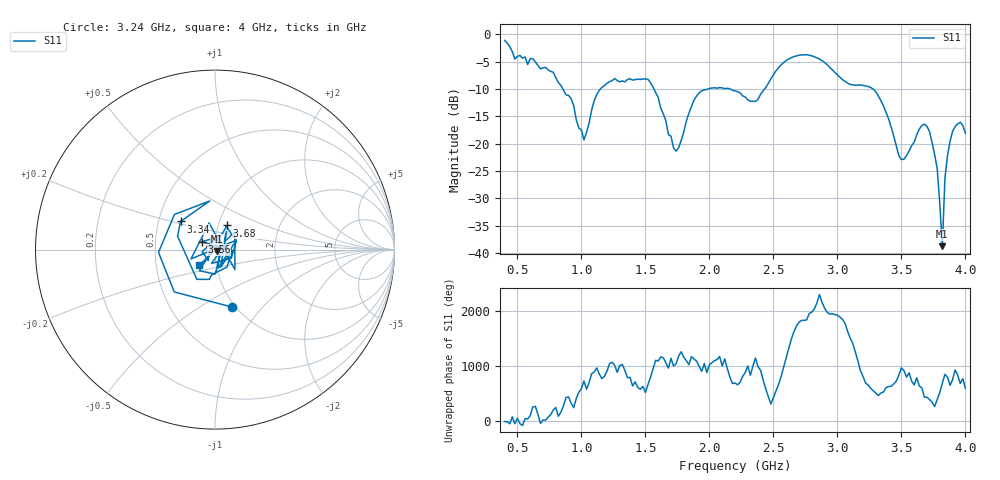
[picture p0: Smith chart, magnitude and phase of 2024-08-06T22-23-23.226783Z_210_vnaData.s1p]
!Created with skrf (http://scikit-rf.org).
# Hz S RI R 50.0
!freq ReS11 ImS11
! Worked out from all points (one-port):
!   181 points, 400 MHz to 4 GHz, reference 50 ohm
!   lowest |S11| = -38.7 dB at 3.82 GHz (marker M1), VSWR 1.02, Z = 50.9 - j0.756 ohm
!   |S11| at or under -10 dB: 854.9 MHz to 1.149 GHz (293.8 MHz wide, 29.3 % of centre); 1.567 GHz to 1.989 GHz (422.2 MHz wide, 23.7 % of centre); 3.278 GHz to end of sweep (the widest 3 of 4)
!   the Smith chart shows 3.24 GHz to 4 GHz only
!   S11 on the Smith chart (normalised r, x): 3.24 GHz: 0.96, -0.69; 3.34 GHz: 0.65, +0.22; 3.56 GHz: 0.86, +0.08; 3.68 GHz: 1.10, +0.30; 4 GHz: 0.82, -0.15
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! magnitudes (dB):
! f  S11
! 400 MHz  -1.1
! 480 MHz  -4.5
! 860 MHz  -10.2
! 920 MHz  -11.8
! 1.02 GHz  -19.3
! 1.14 GHz  -10.2
! 1.3 GHz  -8.7
! 1.52 GHz  -8.2
! 1.72 GHz  -20.8
! 1.76 GHz  -20.7
! 1.92 GHz  -10.7
! 2.2 GHz  -10.4
! 2.36 GHz  -12.3
! 2.66 GHz  -4.1
! 2.86 GHz  -4.5
! 3.1 GHz  -9.2
! 3.24 GHz  -9.5
! 3.34 GHz  -12.1
! 3.48 GHz  -22.2
! 3.56 GHz  -21.3
! 3.68 GHz  -16.4
! 3.72 GHz  -17.8
! 3.78 GHz  -24.6
! 3.82 GHz  -38.7
! 3.84 GHz  -26.3
! 3.88 GHz  -19.6
! 3.96 GHz  -16.1
! 4 GHz  -18.1
